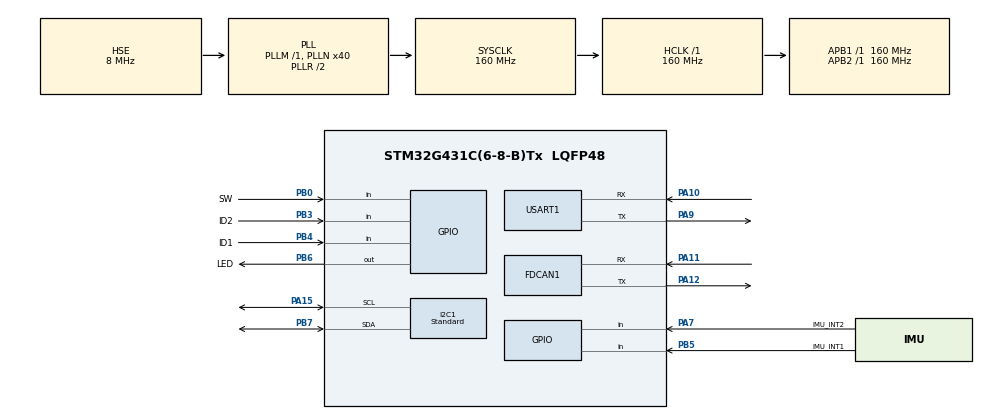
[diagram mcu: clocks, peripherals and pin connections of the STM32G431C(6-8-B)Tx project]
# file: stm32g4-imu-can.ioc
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Dma.Request0=USART1_RX
Dma.USART1_RX.0.Direction=DMA_PERIPH_TO_MEMORY
Dma.USART1_RX.0.EventEnable=DISABLE
Dma.USART1_RX.0.Instance=DMA1_Channel1
Dma.USART1_RX.0.MemDataAlignment=DMA_MDATAALIGN_BYTE
Dma.USART1_RX.0.MemInc=DMA_MINC_ENABLE
Dma.USART1_RX.0.Mode=DMA_NORMAL
Dma.USART1_RX.0.PeriphDataAlignment=DMA_PDATAALIGN_BYTE
Dma.USART1_RX.0.PeriphInc=DMA_PINC_DISABLE
Dma.USART1_RX.0.Polarity=HAL_DMAMUX_REQ_GEN_RISING
Dma.USART1_RX.0.Priority=DMA_PRIORITY_LOW
Dma.USART1_RX.0.RequestNumber=1
Dma.USART1_RX.0.SignalID=NONE
Dma.USART1_RX.0.SyncEnable=DISABLE
Dma.USART1_RX.0.SyncPolarity=HAL_DMAMUX_SYNC_NO_EVENT
Dma.USART1_RX.0.SyncRequestNumber=1
Dma.USART1_RX.0.SyncSignalID=NONE
FDCAN1.CalculateBaudRateNominal=1000000
FDCAN1.CalculateTimeQuantumNominal=200.0
I2C1.Analog_Filter=I2C_ANALOGFILTER_ENABLE
I2C1.CustomTiming=Disabled
I2C1.I2C_Fall_Time=100
I2C1.I2C_Rise_Time=100
I2C1.I2C_Speed_Mode=I2C_Standard
I2C1.NoStretchMode=I2C_NOSTRETCH_DISABLE
I2C1.Timing=0x30D29DE4
Mcu.Family=STM32G4
Mcu.Name=STM32G431C(6-8-B)Tx
Mcu.Package=LQFP48
NVIC.FDCAN1_IT0_IRQn=true\:0\:0\:false\:false\:true\:true\:true\:true
NVIC.FDCAN1_IT1_IRQn=true\:0\:0\:false\:false\:true\:true\:true\:true
NVIC.PriorityGroup=NVIC_PRIORITYGROUP_4
NVIC.TIM2_IRQn=true\:0\:0\:false\:false\:true\:true\:true\:true
PA10.Mode=Asynchronous
PA10.Signal=USART1_RX
PA11.GPIO_PuPd=GPIO_PULLUP
PA11.Mode=FDCAN_Activate
PA11.Signal=FDCAN1_RX
PA12.Mode=FDCAN_Activate
PA12.Signal=FDCAN1_TX
PA13.Mode=Serial_Wire
PA13.Signal=SYS_JTMS-SWDIO
PA14.Mode=Serial_Wire
PA14.Signal=SYS_JTCK-SWCLK
PA15.Mode=I2C
PA15.Signal=I2C1_SCL
PA7.GPIO_Label=IMU_INT2
PA7.Signal=GPIO_Input
PA9.Mode=Asynchronous
PA9.Signal=USART1_TX
PB0.GPIO_Label=SW
PB0.GPIO_PuPd=GPIO_PULLUP
PB0.Signal=GPIO_Input
PB3.GPIO_Label=ID2
PB3.GPIO_PuPd=GPIO_PULLUP
PB3.Signal=GPIO_Input
PB4.GPIO_Label=ID1
PB4.GPIO_PuPd=GPIO_PULLUP
PB4.Signal=GPIO_Input
PB5.GPIO_Label=IMU_INT1
PB5.Signal=GPIO_Input
PB6.GPIO_Label=LED
PB6.Signal=GPIO_Output
PB7.Mode=I2C
PB7.Signal=I2C1_SDA
PC14-OSC32_IN.Mode=LSE-External-Oscillator
PC14-OSC32_IN.Signal=RCC_OSC32_IN
PC15-OSC32_OUT.Mode=LSE-External-Oscillator
PC15-OSC32_OUT.Signal=RCC_OSC32_OUT
PF0-OSC_IN.Mode=HSE-External-Oscillator
PF0-OSC_IN.Signal=RCC_OSC_IN
PF1-OSC_OUT.Mode=HSE-External-Oscillator
PF1-OSC_OUT.Signal=RCC_OSC_OUT
ProjectManager.HeapSize=0x300
ProjectManager.StackSize=0x400
ProjectManager.TargetToolchain=STM32CubeIDE
RCC.ADC12Freq_Value=160000000
RCC.AHBFreq_Value=160000000
RCC.APB1Freq_Value=160000000
RCC.APB1TimFreq_Value=160000000
RCC.APB2Freq_Value=160000000
RCC.APB2TimFreq_Value=160000000
RCC.CK48CLockSelection=RCC_USBCLKSOURCE_HSI48
RCC.CortexFreq_Value=160000000
RCC.EXTERNAL_CLOCK_VALUE=12288000
RCC.FDCANCLockSelection=RCC_FDCANCLKSOURCE_PLL
RCC.HCLKFreq_Value=160000000
RCC.HSE_VALUE=8000000
RCC.HSI48_VALUE=48000000
RCC.HSI_VALUE=16000000
RCC.PLLN=40
RCC.PLLQ=RCC_PLLQ_DIV4
RCC.PLLSourceVirtual=RCC_PLLSOURCE_HSE
RCC.SYSCLKFreq_VALUE=160000000
RCC.SYSCLKSource=RCC_SYSCLKSOURCE_PLLCLK
RCC.USBFreq_Value=48000000
RCC.VCOOutputFreq_Value=320000000
TIM16.PeriodNoDither=207
TIM17.PeriodNoDither=207
TIM2.AutoReloadPreload=TIM_AUTORELOAD_PRELOAD_DISABLE
TIM2.PeriodNoDither=127
TIM2.Prescaler=24999
TIM3.PeriodNoDither=127
TIM3.Prescaler=24999
USART1.VirtualMode-Asynchronous=VM_ASYNC
VP_RTC_VS_RTC_Activate.Mode=RTC_Enabled
VP_SYS_VS_DBSignals.Mode=DisableDeadBatterySignals
VP_TIM16_VS_ClockSourceINT.Mode=Enable_Timer
VP_TIM17_VS_ClockSourceINT.Mode=Enable_Timer
VP_TIM2_VS_ClockSourceINT.Mode=Internal
VP_TIM3_VS_ClockSourceINT.Mode=Internal
board=custom

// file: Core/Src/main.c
/* USER CODE BEGIN Header */
/**
  ******************************************************************************
  * @file           : main.c
  * @brief          : Main program body
  ******************************************************************************
  * @attention
  *
  * Copyright (c) 2024 STMicroelectronics.
  * All rights reserved.
  *
  * This software is licensed under terms that can be found in the LICENSE file
  * in the root directory of this software component.
  * If no LICENSE file comes with this software, it is provided AS-IS.
  *
  ******************************************************************************
  */
/* USER CODE END Header */
#include "main.h"
#include "dma.h"
#include "fdcan.h"
#include "i2c.h"
#include "rtc.h"
#include "tim.h"
#include "usart.h"
#include "gpio.h"

/* USER CODE BEGIN Includes */
#include "ap.h"
/* USER CODE END Includes */

void SystemClock_Config(void);
/* USER CODE BEGIN PFP */
void mxInit();
/* USER CODE END PFP */

/* USER CODE BEGIN 0 */
#if 0
void HAL_TIM_PWM_PulseFinishedCallback(TIM_HandleTypeDef *htim)
{
	if (htim == &htim3){
		cliPrintf("htim3\n");
		HAL_TIM_PWM_Stop_DMA(htim, TIM_CHANNEL_2);
	}
	else if (htim == &htim2){
		cliPrintf("htim2\n");
		HAL_TIM_PWM_Stop_DMA(htim, TIM_CHANNEL_1);
	}
	else if (htim == &htim16){
		cliPrintf("htim16\n");
		HAL_TIM_PWM_Stop_DMA(htim, TIM_CHANNEL_1);
	}
	else if (htim == &htim17){
		cliPrintf("htim17\n");
		HAL_TIM_PWM_Stop_DMA(htim, TIM_CHANNEL_1);
	}
}

#endif

/* USER CODE END 0 */

int main(void)
{

  /* MCU Configuration--------------------------------------------------------*/

  /* Reset of all peripherals, Initializes the Flash interface and the Systick. */
  HAL_Init();

  /* Configure the system clock */
  SystemClock_Config();

  /* Initialize all configured peripherals */
  MX_GPIO_Init();
  MX_DMA_Init();
  MX_FDCAN1_Init();
  MX_USART1_UART_Init();
  MX_RTC_Init();
  MX_TIM2_Init();
  MX_TIM3_Init();
  MX_TIM16_Init();
  MX_TIM17_Init();
  MX_I2C1_Init();
  /* USER CODE BEGIN 2 */
  hwInit();
  apInit();
  apMain();
  /* USER CODE END 2 */

  /* Infinite loop */
  while (1)
  {

  }
}

void SystemClock_Config(void)
{
  RCC_OscInitTypeDef RCC_OscInitStruct = {0};
  RCC_ClkInitTypeDef RCC_ClkInitStruct = {0};

  /** Configure the main internal regulator output voltage
  */
  HAL_PWREx_ControlVoltageScaling(PWR_REGULATOR_VOLTAGE_SCALE1_BOOST);

  /** Initializes the RCC Oscillators according to the specified parameters
  * in the RCC_OscInitTypeDef structure.
  */
  RCC_OscInitStruct.OscillatorType = RCC_OSCILLATORTYPE_LSI|RCC_OSCILLATORTYPE_HSE;
  RCC_OscInitStruct.HSEState = RCC_HSE_ON;
  RCC_OscInitStruct.LSIState = RCC_LSI_ON;
  RCC_OscInitStruct.PLL.PLLState = RCC_PLL_ON;
  RCC_OscInitStruct.PLL.PLLSource = RCC_PLLSOURCE_HSE;
  RCC_OscInitStruct.PLL.PLLM = RCC_PLLM_DIV1;
  RCC_OscInitStruct.PLL.PLLN = 40;
  RCC_OscInitStruct.PLL.PLLP = RCC_PLLP_DIV2;
  RCC_OscInitStruct.PLL.PLLQ = RCC_PLLQ_DIV4;
  RCC_OscInitStruct.PLL.PLLR = RCC_PLLR_DIV2;
  if (HAL_RCC_OscConfig(&RCC_OscInitStruct) != HAL_OK)
  {
    Error_Handler();
  }

  /** Initializes the CPU, AHB and APB buses clocks
  */
  RCC_ClkInitStruct.ClockType = RCC_CLOCKTYPE_HCLK|RCC_CLOCKTYPE_SYSCLK
                              |RCC_CLOCKTYPE_PCLK1|RCC_CLOCKTYPE_PCLK2;
  RCC_ClkInitStruct.SYSCLKSource = RCC_SYSCLKSOURCE_PLLCLK;
  RCC_ClkInitStruct.AHBCLKDivider = RCC_SYSCLK_DIV1;
  RCC_ClkInitStruct.APB1CLKDivider = RCC_HCLK_DIV1;
  RCC_ClkInitStruct.APB2CLKDivider = RCC_HCLK_DIV1;

  if (HAL_RCC_ClockConfig(&RCC_ClkInitStruct, FLASH_LATENCY_4) != HAL_OK)
  {
    Error_Handler();
  }
}

void Error_Handler(void)
{
  __disable_irq();
  while (1)
  {
  }
}
